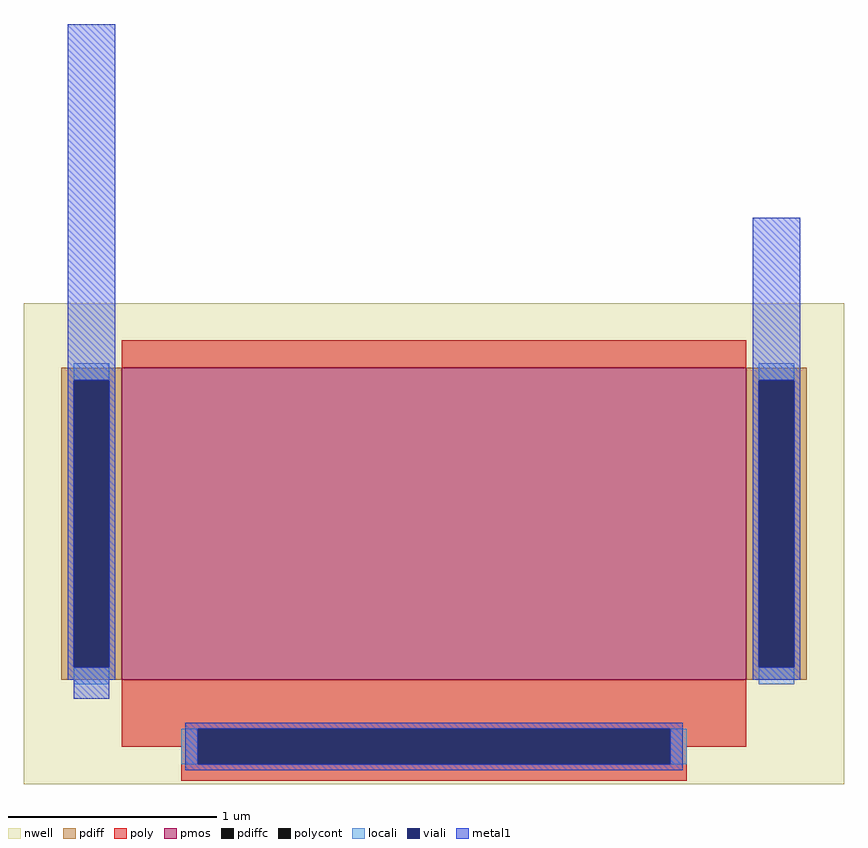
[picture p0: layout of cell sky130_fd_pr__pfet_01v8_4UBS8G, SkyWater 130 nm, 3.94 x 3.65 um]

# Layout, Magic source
magic
tech sky130A
magscale 1 2
<< nwell >>
rect -394 -214 394 248
<< pmos >>
rect -300 -114 300 186
<< pdiff >>
rect -358 174 -300 186
rect -358 -102 -346 174
rect -312 -102 -300 174
rect -358 -114 -300 -102
rect 300 174 358 186
rect 300 -102 312 174
rect 346 -102 358 174
rect 300 -114 358 -102
<< pdiffc >>
rect -346 -102 -312 174
rect 312 -102 346 174
<< poly >>
rect -300 186 300 212
rect -300 -161 300 -114
rect -300 -178 -227 -161
rect -243 -195 -227 -178
rect 227 -178 300 -161
rect 227 -195 243 -178
rect -243 -211 243 -195
<< polycont >>
rect -227 -195 227 -161
<< locali >>
rect -346 174 -312 190
rect -346 -118 -312 -102
rect 312 174 346 190
rect 312 -118 346 -102
rect -243 -195 -227 -161
rect 227 -195 243 -161
<< viali >>
rect -346 -102 -312 174
rect 312 -102 346 174
rect -227 -195 227 -161
<< metal1 >>
rect -352 174 -306 516
rect -352 -102 -346 174
rect -312 -102 -306 174
rect -352 -114 -306 -102
rect 306 174 352 330
rect 306 -102 312 174
rect 346 -102 352 174
rect 306 -114 352 -102
rect -346 -132 -312 -114
rect -239 -161 239 -155
rect -239 -195 -227 -161
rect 227 -195 239 -161
rect -239 -201 239 -195
<< properties >>
string gencell sky130_fd_pr__pfet_01v8
string library sky130
string parameters w 1.5 l 3 m 1 nf 1 diffcov 100 polycov 80 guard 0 glc 1 grc 1 gtc 1 gbc 1 tbcov 100 rlcov 100 topc 0 botc 1 poverlap 0 doverlap 1 lmin 0.15 wmin 0.42 class mosfet compatible {sky130_fd_pr__pfet_01v8  sky130_fd_pr__pfet_01v8_lvt sky130_fd_pr__pfet_01v8_hvt  sky130_fd_pr__pfet_g5v0d10v5} full_metal 1 viasrc 100 viadrn 100 viagate 80 viagb 0 viagr 0 viagl 0 viagt 0
<< end >>
